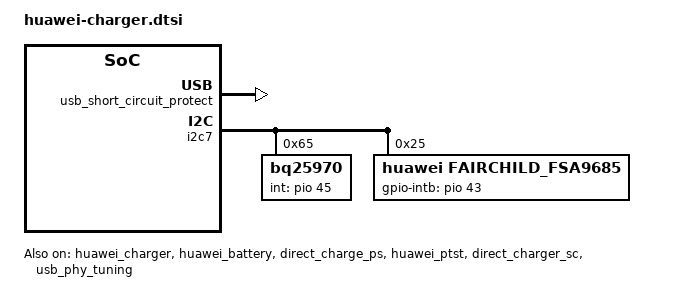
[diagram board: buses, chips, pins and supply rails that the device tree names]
&charger {
	ac_charger_current = <2600000>;
	ac_charger_input_current = <2100000>;
	fcp_charger_current = <2600000>;
	fcp_charger_input_current = <1600000>;
	non_std_ac_charger_current = <1200000>;
	pd_vbus_upper_bound = <10000000>;
	max_charger_voltage = <12000000>;
	dpm_enable;
	battery_cv = <4460000>;
	iterm = <500000>;
	vbus_max_limit = <11500>;
	bc12_charger = <22>; /* usb switch do bc12 */
	dynamic_iterm_en;
	jeita_temp_above_t4_cv = <4080000>;
	jeita_temp_t3_to_t4_cv = <4100000>;
	jeita_temp_t2_to_t3_cv = <4460000>;
	jeita_temp_t1_to_t2_cv = <4430000>;
	jeita_temp_t0_to_t1_cv = <4430000>;
	jeita_temp_below_t0_cv = <4100000>;
	jeita_temp_t0_to_t1_iterm = <150000>;
	jeita_temp_t1_to_t2_iterm = <150000>;
	jeita_temp_t2_to_t3_iterm = <450000>;
	jeita_temp_t3_to_t4_iterm = <150000>;
	jeita_temp_t3_to_t4_cur = <1350000>;
	jeita_temp_t2_to_t3_cur = <2870000>;
	jeita_temp_t1_to_t2_cur = <1150000>;
	jeita_temp_t0_to_t1_cur = <390000>;
	vdpm_buf_limit = <100>;
	vdpm_para =
			"-32767", "4000", "4300", "50",
			"4000", "4200", "4500", "50",
			"4200", "32767", "4600", "50";
	charge_full_design = <4000000>;
};

&huawei_charger {
	compatible = "huawei,charger";
	en_eoc_max_delay = <6>;
	status = "okay";
};

&huawei_battery {
	compatible = "huawei,battery";
	voltage_max_design = <4430000>;
	status = "okay";
};

&lk_charger{
	ac_charger_current = <1050000>;
	ac_charger_input_current = <1050000>;
	non_std_ac_charger_current = <1050000>;
	max_charger_voltage = <12000000>;
	is_power_path;
	poweron_charger_enable = <1>;
};

&direct_charge_ps {
	status = "ok";
};

&direct_charger {
	use_5A = <1>;
	volt_para =
		"4420", "2800", "1200";
	compensate_r = <17>;
	cc_cable_detect_enable = <1>;
	high_temp_hysteresis = <1>;
	full_path_res_max = <500>;
	super_ico_current = <2400>;
	scp_work_on_charger = <1>;
	standard_cable_full_path_res_max = <500>;
	first_cc_stage_timer_in_min = <0>;
	stage_need_to_jump = "1";
	is_show_ico_first = <1>;
	is_send_cable_type = <0>;
	temp_para =
		"-32767", "10", "0",
		"10", "45", "2800",
		"45", "32767", "0";
	status = "disable";
};

&huawei_ptst {
	compatible = "huawei,power_test";
	dc_mmi = <1>;
	dc_mmi_para = <45 0x01 0 1000 1>;
	status = "ok";
};

&direct_charger_sc {
	use_8A = <1>;
	dc_volt_ratio = <2>;
	max_adaptor_vset = <10000>;
	init_adapter_vset = <8800>;
	delta_err_10v2p25a = <150>;
	delta_err_10v4a = <300>;
	vol_err_th = <300>;
	adaptor_leakage_current_th = <600>;
	vstep = <20>;
	high_temp_hysteresis = <1>;
	gain_curr_10v2a = <300>;
	gain_curr_10v2p25a = <500>;
	init_delt_vset = <450>;
	max_dc_bat_vol = <4380>;
	max_current_for_none_standard_cable = <6000>;
	adaptor_antifake_check_enable = <0>;
	adaptor_antifake_key_index = <2>;
	ui_max_pwr = <40000>;
	volt_para =
		"4150", "7840", "5880",
		"4250", "5880", "3920",
		"4300", "3920", "2740",
		"4450", "2740", "1960",
		"4480", "1960", "1200";
	volt_para1 =
		"4250", "8000", "5880",
		"4350", "5880", "5090",
		"4380", "5090", "3920",
		"4450", "3920", "2740",
		"4480", "2740", "1200";
	bat_para =
		"BIT_CAE", "10", "20", "volt_para",
		"BIT_CAE", "20", "45", "volt_para1",
		"BCY_CGL", "10", "20", "volt_para",
		"BCY_CGL", "20", "45", "volt_para1",
		"BYT_CBL", "10", "20", "volt_para",
		"BYT_CBL", "20", "45", "volt_para1",
		"default", "10", "20", "volt_para",
		"default", "20", "45", "volt_para1";
	compensate_r = <4>;
	cc_cable_detect_enable = <1>;
	full_path_res_max = <500>;
	scp_work_on_charger = <1>;
	standard_cable_full_path_res_max = <500>;
	first_cc_stage_timer_in_min = <10>;
	stage_need_to_jump = "-1";
	is_show_ico_first = <1>;
	is_send_cable_type = <0>;
	temp_para =
		"-32767", "10", "0",
		"10", "45", "8000",
		"45", "32767", "0";
	resist_para =
		"0", "300", "6000",
		"300", "500", "4000";
	std_resist_para =
		"0", "300", "8000",
		"300", "500", "4000";
	10v2p25a_cur_para =
		"-32767", "5500",  "2000",
		"5500",   "9000",  "2500",
		"9000",   "10000", "2250",
		"10000",  "10500", "2000",
		"10500",  "32767", "1500";
	status = "ok";
};

&bat_gm30 {
	bat_para =
		"BIT_CAE", "1310000", "1440000",
		"BCY_CGL", "710000", "810000",
		"BYT_CBL", "55000", "110000";
	ntc_compensation_is = <1>;
	ntc_temp_compensation_para =
		"7000", "55",
		"6000", "40",
		"5000", "30",
		"4000", "20",
		"2000", "10",
		"1000", "10";
	min_fcc = <2800000>;
	max_fcc = <4000000>;
	g_FG_PSEUDO100_T0 = <(97)>;
	g_FG_PSEUDO100_T1 = <(97)>;
	g_FG_PSEUDO100_T2 = <(97)>;
	g_FG_PSEUDO100_T3 = <(97)>;
	g_FG_PSEUDO100_T4 = <(97)>;
	dlpt_optimization;
	CAR_TUNE_VALUE = <(250)>;
	#include "../huawei_charger/BIT_CAE_4V45_4000mah_40W_ext.dtsi"
	#include "../huawei_charger/BCY_CGL_4V45_4000mah_40W_ext.dtsi"
	#include "../huawei_charger/BYT_CBL_4V45_4000mah_40W_ext.dtsi"

};

&usb_c_pinctrl {
	status = "disabled";
};

&mt6360_pmu {
	mt6360,intr_gpio_num = <10>; /* direct defined GPIO num */
	mt6360,intr_gpio = <&pio 10 0x0>;
	chg {
		ircmp_resistor = <25000>;
	};
};

&mt6360_typec {
	mt6360pd,intr_gpio_num = <9>; /* direct defined GPIO num */
	mt6360pd,intr_gpio = <&pio 9 0x0>;
};

&power_thermalzone {
	status = "ok";
};

&usb_short_circuit_protect {
	status = "ok";
};

&usb_phy_tuning {
	h_u2_vrt_ref = <6>;
	h_u2_term_ref = <2>;
	h_u2_enhance = <2>;
	d_u2_vrt_ref = <6>;
	d_u2_term_ref = <4>;
	d_u2_enhance = <1>;
	status = "ok";
};

&pio {
	bq25970_irq_pins_default: bq25970_irq_pins_default {
		pins_cmd_dat {
			pinmux = <PINMUX_GPIO45__FUNC_GPIO45>;
			slew-rate = <0>;
			bias-pull-up;
		};
	};
	fsa9685_irq_pins_default: fsa9685_irq_pins_default {
		pins_cmd_dat {
			pinmux = <PINMUX_GPIO43__FUNC_GPIO43>;
			slew-rate = <0>;
			bias-pull-up;
		};
	};
};

&i2c7 {
		bq25970@65 {
			compatible = "bq25970";
			pinctrl-names = "default";
			pinctrl-0 = <&bq25970_irq_pins_default>;
			gpio_int = <&pio 45 0x0>;
			switching_frequency = <675>;
			sense_r_config = <20>;
			sense_r_actual = <20>;
			reg = <0x65>;
			status = "ok";
		};
		fairchild_fsa9685@25 {
			compatible = "huawei,fairchild_fsa9685";
			reg = <0x25>;
			pinctrl-names = "default";
			pinctrl-0 = <&fsa9685_irq_pins_default>;
			fairchild_fsa9685,gpio-intb = <&pio 43 0x0>;
			usbid-enable = <0>;
			fcp_support = <1>;
			scp_support = <1>;
			mhl_detect_disable = <1>;
			power_by_5v = <1>;
			close_bc12 = <1>;
			ignore_force_ac = <1>;
			/* for rt8979 */
			interrupt-names = "vbus_change", "device_change", "detach",
					  "attach";
			/* auto_switch; */
			scp;
			dcd;
			dcd_timeout = <600>;  /* ms */
			intb_watchdog = <1000>;  /* ms */
			ovp_sel = <14500000>;  /* uV */
			status = "ok";
		};
};
